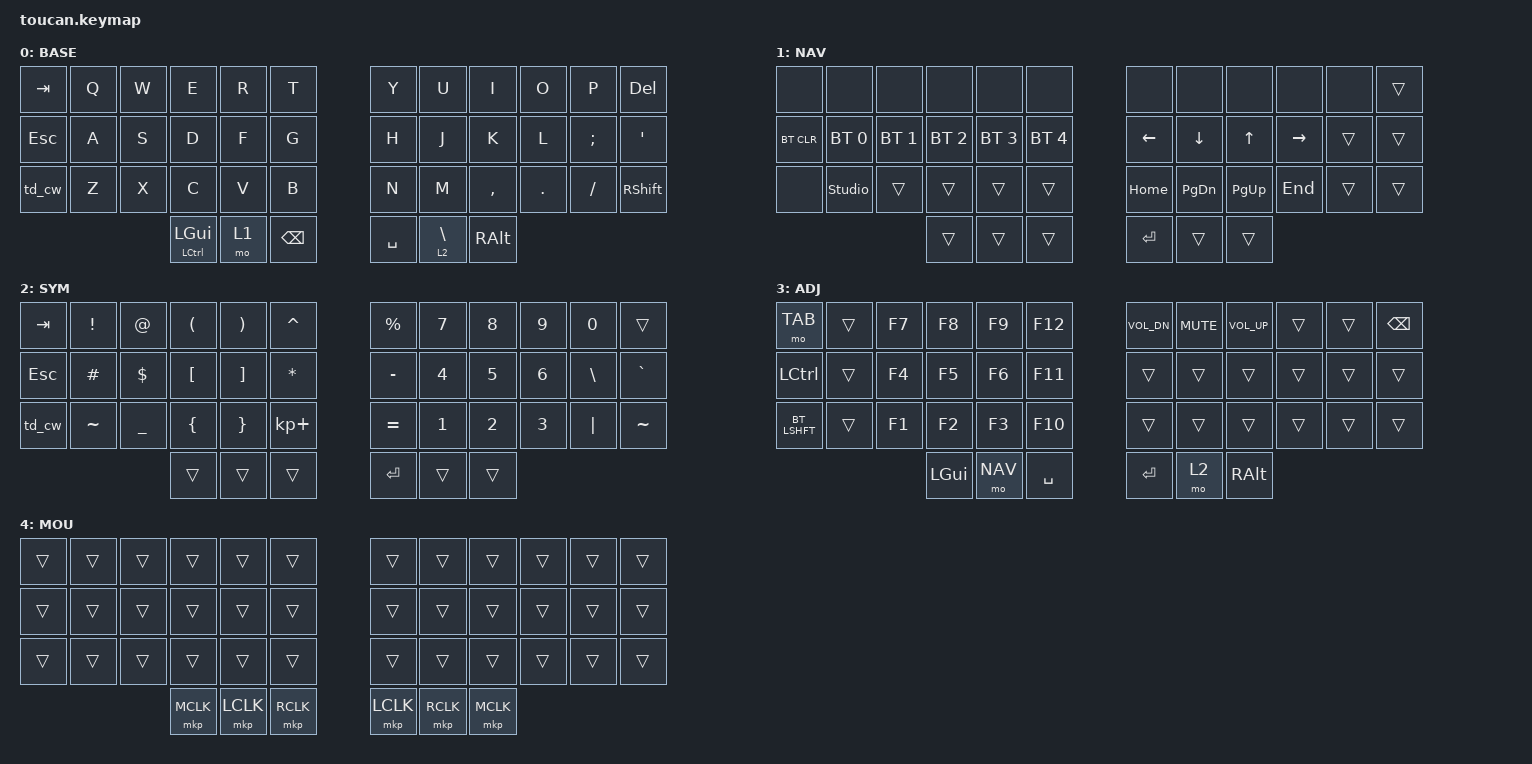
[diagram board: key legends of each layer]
#include <behaviors.dtsi>
#include <dt-bindings/zmk/keys.h>
#include <dt-bindings/zmk/bt.h>
#include <dt-bindings/zmk/outputs.h>
#include <dt-bindings/zmk/pointing.h>

#define BASE 0
#define NAV  1
#define SYM  2
#define ADJ  3

/ {
    conditional_layers {
        compatible = "zmk,conditional-layers";
        tri_layer {
            if-layers = <1 2>;
            then-layer = <3>;
        };
    };

    behaviors {
        td_cw: tap_dance_caps_word {
            compatible = "zmk,behavior-tap-dance";
            #binding-cells = <0>;
            tapping-term-ms = <200>;
            bindings = <&kp LSHFT> , <&caps_word>;
        };
    };

    keymap {
        compatible = "zmk,keymap";

        base {
            display-name = "BASE";
            bindings = <
                &kp TAB   &kp Q &kp W &kp E          &kp R &kp T         &kp Y     &kp U  &kp I     &kp O   &kp P    &kp DEL
                &kp ESC   &kp A &kp S &kp D          &kp F &kp G         &kp H     &kp J  &kp K     &kp L   &kp SEMI &kp SQT
                &td_cw    &kp Z &kp X &kp C          &kp V &kp B         &kp N     &kp M  &kp COMMA &kp DOT &kp FSLH &kp RSHFT
                                      &mt LCTRL LGUI &mo 1 &kp BSPC      &kp SPACE &lt 2 BSLH  &kp RALT
            >;
        };

        nav {
            display-name = "NAV";
            bindings = <
                &none       &none           &none        &none        &none        &none            &none    &none       &none      &none     &none  &trans
                &bt BT_CLR  &bt BT_SEL 0    &bt BT_SEL 1 &bt BT_SEL 2 &bt BT_SEL 3 &bt BT_SEL 4     &kp LEFT &kp DOWN    &kp UP     &kp RIGHT &trans &trans
                &none       &studio_unlock  &trans       &trans       &trans       &trans           &kp HOME &kp PG_DN   &kp PG_UP  &kp END   &trans &trans
                                                         &trans       &trans       &trans           &kp RET  &trans      &trans
            >;
        };

        sym {
            display-name = "SYM";
            bindings = <
                &kp TAB   &kp EXCL  &kp AT    &kp LPAR &kp RPAR &kp CARET        &kp PRCNT  &kp N7  &kp N8  &kp N9 &kp N0   &trans
                &kp ESC   &kp HASH  &kp DLLR  &kp LBKT &kp RBKT &kp STAR         &kp MINUS  &kp N4  &kp N5  &kp N6 &kp BSLH &kp GRAVE
                &td_cw    &kp TILDE &kp UNDER &kp LBRC &kp RBRC &kp KP_PLUS      &kp EQUAL  &kp N1  &kp N2  &kp N3 &kp PIPE &kp TILDE
                                              &trans   &trans   &trans           &kp RET     &trans  &trans
            >;
        };

        adj {
            display-name = "ADJ";
            bindings = <
                &mo TAB   &trans &kp F7 &kp F8 &kp F9 &kp F12   &kp C_VOL_DN &kp C_MUTE  &kp C_VOL_UP &trans &trans &kp BSPC
                &kp LCTRL &trans &kp F4 &kp F5 &kp F6 &kp F11   &trans       &trans      &trans       &trans &trans &trans
                &bt LSHFT &trans &kp F1 &kp F2 &kp F3 &kp F10   &trans       &trans      &trans       &trans &trans &trans
                                   &kp LGUI &mo NAV &kp SPACE   &kp RET &mo 2 &kp RALT
            >;
        };

        mouse {
            display-name = "MOU";
            bindings = <
                &trans &trans &trans &trans &trans &trans           &trans &trans &trans &trans &trans &trans
                &trans &trans &trans &trans &trans &trans           &trans &trans &trans &trans &trans &trans
                &trans &trans &trans &trans &trans &trans           &trans &trans &trans &trans &trans &trans
                            &mkp MCLK &mkp LCLK &mkp RCLK           &mkp LCLK &mkp RCLK &mkp MCLK
            >;
        };

        extra_2 {
                status = "reserved";
        };

        extra_3 {
                status = "reserved";
        };
    };
};
